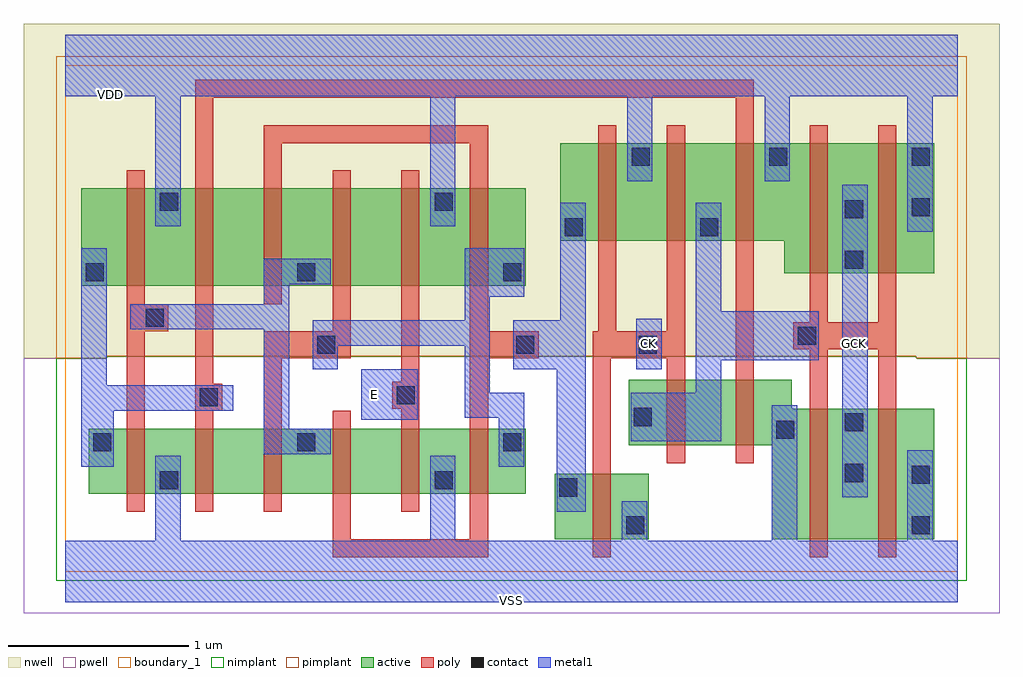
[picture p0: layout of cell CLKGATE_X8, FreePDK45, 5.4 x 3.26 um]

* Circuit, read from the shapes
.subckt CLKGATE_X8 CK E GCK VDD VSS
M1 VSS n1 n2 VSUBS nfet w=0.36u l=0.1u
M2 n3 n2 VSS VSUBS nfet w=0.36u l=0.1u
M3 n1 n4 n3 VSUBS nfet w=0.36u l=0.1u
M4 n5 n6 n1 VSUBS nfet w=0.36u l=0.1u
M5 VSS E n5 VSUBS nfet w=0.36u l=0.1u
M6 n4 n6 VSS VSUBS nfet w=0.36u l=0.1u
M7 VSS CK n6 VSUBS nfet w=0.36u l=0.1u
M8 n7 CK n8 VSUBS nfet w=0.36u l=0.1u
M9 VSS n2 n7 VSUBS nfet w=0.36u l=0.1u
M10 GCK n8 VSS VSUBS nfet w=0.72u l=0.1u m=2
M11 VDD n1 n2 n9 pfet w=0.54u l=0.1u
M12 n10 n2 VDD n9 pfet w=0.54u l=0.1u
M13 n1 n6 n10 n9 pfet w=0.54u l=0.1u
M14 n11 n4 n1 n9 pfet w=0.54u l=0.1u
M15 VDD E n11 n9 pfet w=0.54u l=0.1u
M16 n4 n6 VDD n9 pfet w=0.54u l=0.1u
M17 VDD CK n6 n9 pfet w=0.54u l=0.1u
M18 n8 CK VDD n9 pfet w=0.54u l=0.1u
M19 VDD n2 n8 n9 pfet w=0.54u l=0.1u
M20 GCK n8 VDD n9 pfet w=0.72u l=0.1u m=2
.ends

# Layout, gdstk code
import gdstk
lib = gdstk.Library(unit=1e-6, precision=1e-09)
def R(c, l, rs):  # rectangles x0, y0, x1, y1
    for r in rs: c.add(gdstk.rectangle(r[:2], r[2:], *l))
def P(c, l, *ps):  # polygons
    for p in ps: c.add(gdstk.Polygon(p, *l))
active = (1, 0)
pwell = (2, 0)
nwell = (3, 0)
nimplant = (4, 0)
pimplant = (5, 0)
poly = (9, 0)
contact = (10, 0)
metal1 = (11, 0)
boundary_1 = (235, 1)

clkgate_x8 = lib.new_cell('CLKGATE_X8')
R(clkgate_x8, active, [(2.71,0.18,3.23,0.54), (0.13,0.43,2.55,0.79), (0.09,1.58,2.55,2.12)])
P(clkgate_x8, active, [(2.74,1.83),(3.98,1.83),(3.98,1.65),(4.81,1.65),(4.81,2.37),(2.74,2.37)],
  [(3.12,0.7),(3.91,0.7),(3.91,0.18),(4.81,0.18),(4.81,0.9),(4.02,0.9),(4.02,1.06),(3.12,1.06)])
P(clkgate_x8, pwell, [(-0.23,-0.23),(5.17,-0.23),(5.17,1.18),(4.71,1.18),(4.71,1.19),(0.23,1.19),(0.23,1.18),(-0.23,1.18)])
P(clkgate_x8, nwell, [(-0.23,1.18),(0.23,1.18),(0.23,1.19),(4.71,1.19),(4.71,1.18),(5.17,1.18),(5.17,3.03),(-0.23,3.03)])
P(clkgate_x8, nimplant, [(-0.05,-0.05),(4.99,-0.05),(4.99,1.18),(4.71,1.18),(4.71,1.19),(0.23,1.19),(0.23,1.18),(-0.05,1.18)])
P(clkgate_x8, pimplant, [(-0.05,1.18),(0.23,1.18),(0.23,1.19),(4.71,1.19),(4.71,1.18),(4.99,1.18),(4.99,2.85),(-0.05,2.85)])
P(clkgate_x8, poly, [(4.03,1.23),(4.12,1.23),(4.12,0.08),(4.22,0.08),(4.22,1.23),(4.5,1.23),(4.5,0.08),(4.6,0.08),(4.6,2.47),(4.5,2.47),(4.5,1.38),(4.22,1.38),(4.22,2.47),(4.12,2.47),(4.12,1.38),(4.03,1.38)],
  [(0.82,2.62),(3.71,2.62),(3.71,0.6),(3.81,0.6),(3.81,2.72),(0.72,2.72),(0.72,0.33),(0.82,0.33),(0.82,0.89),(0.87,0.89),(0.87,1.04),(0.82,1.04)],
  [(2.92,0.08),(3.02,0.08),(3.02,1.18),(3.33,1.18),(3.33,0.6),(3.43,0.6),(3.43,2.47),(3.33,2.47),(3.33,1.33),(3.05,1.33),(3.05,2.47),(2.95,2.47),(2.95,1.33),(2.92,1.33)],
  [(1.1,1.48),(1.2,1.48),(1.2,2.37),(2.24,2.37),(2.24,0.18),(1.58,0.18),(1.58,0.89),(1.48,0.89),(1.48,0.08),(2.34,0.08),(2.34,1.18),(2.62,1.18),(2.62,1.33),(2.34,1.33),(2.34,2.47),(1.1,2.47)],
  [(1.81,0.9),(1.86,0.9),(1.86,0.33),(1.96,0.33),(1.96,2.22),(1.86,2.22),(1.86,1.05),(1.81,1.05)],
  [(1.1,0.33),(1.2,0.33),(1.2,1.18),(1.58,1.18),(1.58,2.22),(1.48,2.22),(1.48,1.33),(1.1,1.33)],
  [(0.34,0.33),(0.44,0.33),(0.44,1.33),(0.57,1.33),(0.57,1.48),(0.44,1.48),(0.44,2.22),(0.34,2.22)])
R(clkgate_x8, contact, [(3.105,0.205,3.205,0.305), (4.685,0.205,4.785,0.305), (2.735,0.415,2.835,0.515), (0.525,0.455,0.625,0.555), (2.045,0.455,2.145,0.555), (4.685,0.485,4.785,0.585), (4.315,0.495,4.415,0.595), (0.155,0.665,0.255,0.765), (1.285,0.665,1.385,0.765), (2.425,0.665,2.525,0.765), (3.935,0.735,4.035,0.835), (4.315,0.775,4.415,0.875), (3.145,0.805,3.245,0.905), (0.745,0.915,0.845,1.015), (1.835,0.925,1.935,1.025), (1.395,1.205,1.495,1.305), (2.495,1.205,2.595,1.305), (3.175,1.205,3.275,1.305), (4.055,1.255,4.155,1.355), (0.445,1.355,0.545,1.455), (0.115,1.605,0.215,1.705), (1.285,1.605,1.385,1.705), (2.425,1.605,2.525,1.705), (4.315,1.675,4.415,1.775), (2.765,1.855,2.865,1.955), (3.515,1.855,3.615,1.955), (4.315,1.955,4.415,2.055), (4.685,1.965,4.785,2.065), (0.525,1.995,0.625,2.095), (2.045,1.995,2.145,2.095), (3.135,2.245,3.235,2.345), (3.895,2.245,3.995,2.345), (4.685,2.245,4.785,2.345)])
R(clkgate_x8, metal1, [(4.3,0.41,4.44,2.14), (4.3,0.41,4.44,2.14), (1.64,0.84,1.95,1.12), (1.64,0.84,1.95,1.12), (3.16,1.12,3.3,1.4), (3.16,1.12,3.3,1.4)])
P(clkgate_x8, metal1, [(0,-0.17),(4.94,-0.17),(4.94,0.17),(4.8,0.17),(4.8,0.67),(4.66,0.67),(4.66,0.17),(4.05,0.17),(4.05,0.92),(3.91,0.92),(3.91,0.17),(3.22,0.17),(3.22,0.39),(3.08,0.39),(3.08,0.17),(2.16,0.17),(2.16,0.64),(2.02,0.64),(2.02,0.17),(0.64,0.17),(0.64,0.64),(0.5,0.64),(0.5,0.17),(0,0.17)],
  [(0,2.63),(0.5,2.63),(0.5,1.91),(0.64,1.91),(0.64,2.63),(2.02,2.63),(2.02,1.91),(2.16,1.91),(2.16,2.63),(3.11,2.63),(3.11,2.16),(3.25,2.16),(3.25,2.63),(3.87,2.63),(3.87,2.16),(4.01,2.16),(4.01,2.63),(4.66,2.63),(4.66,1.88),(4.8,1.88),(4.8,2.63),(4.94,2.63),(4.94,2.97),(0,2.97)],
  [(0,2.63),(0.5,2.63),(0.5,1.91),(0.64,1.91),(0.64,2.63),(2.02,2.63),(2.02,1.91),(2.16,1.91),(2.16,2.63),(3.11,2.63),(3.11,2.16),(3.25,2.16),(3.25,2.63),(3.87,2.63),(3.87,2.16),(4.01,2.16),(4.01,2.63),(4.66,2.63),(4.66,1.88),(4.8,1.88),(4.8,2.63),(4.94,2.63),(4.94,2.97),(0,2.97)],
  [(0,-0.17),(4.94,-0.17),(4.94,0.17),(4.8,0.17),(4.8,0.67),(4.66,0.67),(4.66,0.17),(4.05,0.17),(4.05,0.92),(3.91,0.92),(3.91,0.17),(3.22,0.17),(3.22,0.39),(3.08,0.39),(3.08,0.17),(2.16,0.17),(2.16,0.64),(2.02,0.64),(2.02,0.17),(0.64,0.17),(0.64,0.64),(0.5,0.64),(0.5,0.17),(0,0.17)],
  [(3.13,0.72),(3.63,0.72),(3.63,1.17),(4.17,1.17),(4.17,1.44),(3.63,1.44),(3.63,2.04),(3.49,2.04),(3.49,0.99),(3.13,0.99)],
  [(2.48,1.12),(2.72,1.12),(2.72,0.33),(2.88,0.33),(2.88,2.04),(2.74,2.04),(2.74,1.39),(2.48,1.39)],
  [(2.35,1.52),(2.54,1.52),(2.54,1.79),(2.21,1.79),(2.21,1.39),(1.37,1.39),(1.37,1.12),(1.51,1.12),(1.51,1.25),(2.21,1.25),(2.21,0.85),(2.4,0.85),(2.4,0.58),(2.54,0.58),(2.54,0.99),(2.35,0.99)],
  [(1.24,1.59),(1.47,1.59),(1.47,1.73),(1.1,1.73),(1.1,1.48),(0.36,1.48),(0.36,1.34),(1.1,1.34),(1.1,0.65),(1.47,0.65),(1.47,0.79),(1.24,0.79)],
  [(0.09,0.58),(0.27,0.58),(0.27,0.89),(0.93,0.89),(0.93,1.03),(0.23,1.03),(0.23,1.79),(0.09,1.79)])
R(clkgate_x8, boundary_1, [(0,0,4.94,2.8)])
clkgate_x8.add(gdstk.Label('VSS', (2.47,-0.16), layer=11, texttype=0))
clkgate_x8.add(gdstk.Label('VDD', (0.25,2.64), layer=11, texttype=0))
clkgate_x8.add(gdstk.Label('GCK', (4.37,1.26), layer=11, texttype=0))
clkgate_x8.add(gdstk.Label('E', (1.71,0.98), layer=11, texttype=0))
clkgate_x8.add(gdstk.Label('CK', (3.23,1.26), layer=11, texttype=0))

lib.write_gds('CLKGATE_X8.gds')
